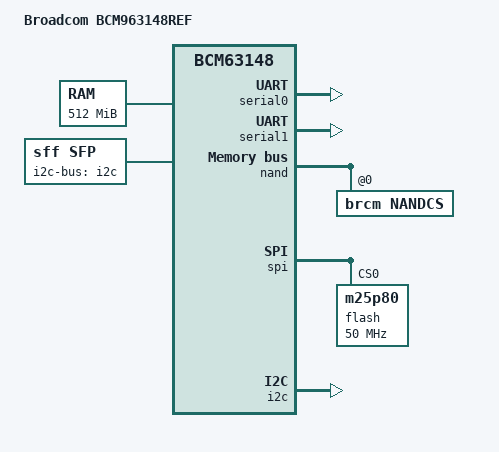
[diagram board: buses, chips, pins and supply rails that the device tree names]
// SPDX-License-Identifier: GPL-2.0
/*
 * Broadcom BCM63148 Reference Board (REF) DTS
 */

/dts-v1/;

#include "bcm63148.dtsi"

/ {
	compatible = "brcm,BCM963148REF", "brcm,bcm63148";
	model = "Broadcom BCM963148REF";

	chosen {
		bootargs = "console=ttyS0,115200 earlyprintk";
		stdout-path = &serial0;
	};

	memory {
		reg = <0x0 0x20000000>;
	};

	sfp {
		compatible = "sff,sfp";
		i2c-bus = <&i2c>;
		//los-gpios = <&gpio 28 GPIO_ACTIVE_HIGH>;
	};
};

&serial0 {
	status = "okay";
};

&serial1 {
	status = "okay";
};

&nand {
	status = "okay";

	nandcs@0 {
		compatible = "brcm,nandcs";
		reg = <0>;
		nand-ecc-strength = <4>;
		nand-ecc-step-size = <512>;
		brcm,nand-oob-sectors-size = <16>;
	};
};

&spi {
	status = "okay";

	flash: flash@0 {
		compatible = "m25p80";
		#address-cells = <2>;
		#size-cells = <2>;
		spi-max-frequency = <50000000>;
		reg = <0>;
		m25p-fast-read;
	};
};

&i2c {
	status = "okay";
};
